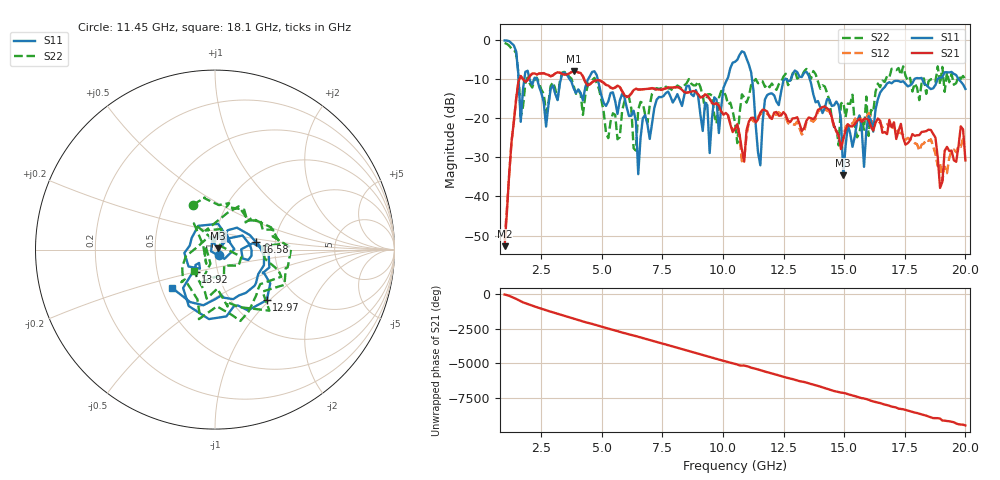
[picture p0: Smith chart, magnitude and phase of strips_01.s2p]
!Agilent Technologies,N5230A,MY45001629,A.07.50.67
!Agilent N5230A: A.07.50.67
!Date: Monday, June 05, 2017 16:31:58
!Correction: S11(Full 2 Port(1,2))
!S21(Full 2 Port(1,2))
!S12(Full 2 Port(1,2))
!S22(Full 2 Port(1,2))
!S2P File: Measurements: S11, S21, S12, S22:
# Hz S  dB  R 50
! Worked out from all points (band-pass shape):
!   201 points, 1 GHz to 20 GHz, reference 50 ohm
!   highest |S21| = -8.13 dB at 3.85 GHz (marker M1); lowest = -52.7 dB at 1 GHz (marker M2)
!   |S21| within 3 dB of the highest: 1.561 GHz to 4.36 GHz (2.799 GHz wide, 94.5 % of centre); 4.568 GHz to 5.1 GHz (531.7 MHz wide, 11 % of centre)
!   lowest |S11| = -34.6 dB at 14.96 GHz (marker M3), VSWR 1.04, Z = 51.7 + j0.849 ohm
!   |S11| at or under -10 dB: 4.835 GHz to 10.19 GHz (5.352 GHz wide, 71.2 % of centre); 11.2 GHz to 12.58 GHz (1.379 GHz wide, 11.6 % of centre); 13.58 GHz to 17.91 GHz (4.329 GHz wide, 27.5 % of centre)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
!   |S22| runs from -28.3 to -0.9 dB; largest |S21 - S12| = 0.04
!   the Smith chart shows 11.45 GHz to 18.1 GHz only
!   S11 on the Smith chart (normalised r, x): 11.45 GHz: 1.05, -0.06; 12.97 GHz: 1.43, -0.96; 13.92 GHz: 0.78, -0.20; 16.58 GHz: 1.58, +0.14; 18.1 GHz: 0.57, -0.27
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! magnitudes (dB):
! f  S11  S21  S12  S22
! 1 GHz  -0.2  -52.7  -51.1  -0.9
! 1.57 GHz  -9.0  -10.7  -10.7  -8.6
! 3.85 GHz  -12.5  -8.1  -8.1  -11.9
! 4.23 GHz  -15.5  -9.4  -9.4  -19.2
! 5.94 GHz  -14.7  -14.1  -14.2  -15.8
! 6.51 GHz  -34.3  -12.8  -12.7  -17.9
! 7.365 GHz  -14.6  -12.7  -12.8  -12.6
! 8.885 GHz  -12.9  -13.3  -13.3  -11.7
! 9.455 GHz  -28.9  -15.2  -15.2  -13.9
! 10.5 GHz  -5.7  -22.8  -22.7  -21.2
! 11.16 GHz  -8.3  -20.0  -20.1  -11.6
! 11.45 GHz  -28.8  -20.4  -19.7  -11.1
! 12.97 GHz  -7.9  -20.1  -21.7  -8.0
! 13.73 GHz  -14.0  -20.3  -20.9  -8.0
! 13.92 GHz  -15.7  -17.9  -18.4  -10.7
! 14.78 GHz  -16.8  -24.3  -24.7  -27.0
! 14.96 GHz  -34.6  -25.4  -25.2  -16.0
! 16.01 GHz  -19.5  -20.5  -18.7  -24.6
! 16.58 GHz  -12.7  -23.8  -22.4  -10.5
! 16.86 GHz  -10.9  -20.5  -22.0  -9.6
! 18.1 GHz  -9.9  -24.4  -28.3  -15.5
! 20 GHz  -12.6  -30.8  -25.3  -10.2
